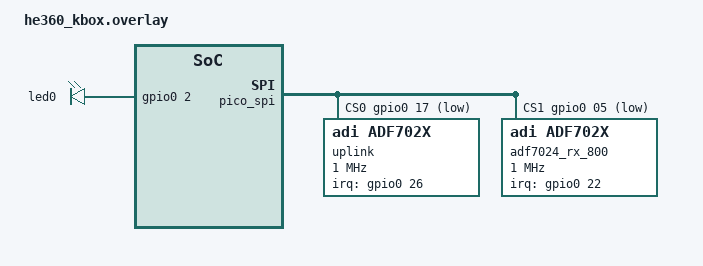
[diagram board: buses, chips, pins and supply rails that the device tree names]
/*
 * Copyright (c) 2024 Liam Beguin <liambeguin@gmail.com>
 *
 * SPDX-License-Identifier: Apache-2.0
 */
#include <zephyr/dt-bindings/ieee802154/ieee802154_adf702x.h>

/ {
	chosen {
		led0 = &led0;

		nsp,rx = &downlink;
		nsp,tx = &uplink;
	};
};

&led0 {
	gpios = <&gpio0 2 GPIO_ACTIVE_HIGH>;
};

&pinctrl {
	i2c0_default: i2c0_default {
		group1 {
			pinmux = <I2C0_SDA_P8>, <I2C0_SCL_P9>;
			input-enable;
			input-schmitt-enable;
		};
	};
};

&gpio0 {
	ngpios = <28>;
	gpio-reserved-ranges =
		<0 2>,
		<3 3>,
		<8 6>,
		<16 4>,
		<22 3>,
		<26 2>;

	gpio-line-names =
		"GP0",
		"GP1",
		"24v-disable",
		"GP3",
		"GP4",
		"GP5",
		"batt1-inhibit",
		"batt2-inhibit",
		"GP8",
		"GP9",
		"GP10",
		"GP11",
		"GP12",
		"GP13",
		"rx-enable",
		"tx-enable",
		"GP16",
		"GP17",
		"GP18",
		"GP19",
		"low-battery",
		"GP21",
		"GP22",
		"GP23",
		"GP24",
		"LED",
		"GP26",
		"GP27",
		"err-status";
};

&pico_i2c0 {
	tca9555@27 {
		status = "disabled";
		compatible = "nxp,pca95xx";
		reg = <0x27>;
		gpio-controller;
		#gpio-cells = <2>;
	};
};

&pico_spi {
	status = "okay";
	cs-gpios = <&gpio0 17 GPIO_ACTIVE_LOW>,
		   <&gpio0 05 GPIO_ACTIVE_LOW>;

	/* ADF7024DB3Z TX */
	uplink: adf7024-tx-400@0 {
		status = "okay";
		compatible = "adi,adf702x";
		reg = <0>;
		spi-max-frequency = <1000000>;

		channel-frequency = <(434000000 + 30000)>;
		adf7024,radio-profile = <RADIO_PROFILE_B>;

		irq-gpios = <&gpio0 26 GPIO_ACTIVE_HIGH>;
	};

	/* ADF7024DB1Z RX */
	adf7024_rx_800: downlink: adf7024-rx-800@1 {
		status = "okay";
		compatible = "adi,adf702x";
		reg = <1>;
		spi-max-frequency = <1000000>;
		channel-frequency = <895000000>;

		irq-gpios = <&gpio0 22 GPIO_ACTIVE_HIGH>;
	};
};
